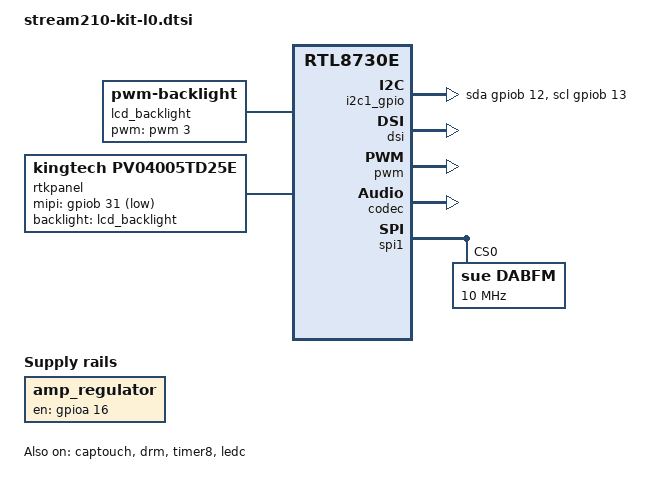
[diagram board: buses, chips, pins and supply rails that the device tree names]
#include "../rtl8730e-drm.dtsi"
#include "../rtl8730e-captouch.dtsi"

/ {
	sue {
		carrierboard = "streamkit210";
		daughterboard = "dabfm";
	};

	aliases {
		i2c1 = &i2c1_gpio;
	};

	reserved-memory {
		// Reserve 6 MiB for graphics, this is enough do drive a
		// 480x800 32-bpp display with double-buffering using DRM.
		// There is probably some more optimizations to be done,
		// but for now let's keep it like that.
		mem_drm_reserved: drm_buffer@0x64000000 {
			compatible = "shared-dma-pool";
			no-map;
			reg = <0x64000000 0x600000>;
		};
	};

	i2c1_gpio: i2c1_gpio {
		compatible = "i2c-gpio";

		#address-cells = <1>;
		#size-cells = <0>;

		pinctrl-names = "default";
		pinctrl-0 = <&i2c1_gpio_pins>;

		sda-gpios = <&gpiob 12 (GPIO_ACTIVE_HIGH | GPIO_OPEN_DRAIN)>;
		scl-gpios = <&gpiob 13 (GPIO_ACTIVE_HIGH | GPIO_OPEN_DRAIN)>;
		i2c-gpio,delay-us = <2>;

		status = "okay";
	};

	lcd_backlight: lcd_backlight {
		compatible = "pwm-backlight";
		pwms = <&pwm 3 5000000 0>;

		/*
		 * Values taken from `imx7d-sue-streamkitprime-common-0.dtsi`.
		 */
		brightness-levels = <0 3 5 8 10 13 15 18 20 23 26 28 31 33 36 38 41 43 46 48 51 54 56 59 61 64 66 69 71 74
			77 79 82 84 87 89 92 94 97 99 102 105 107 110 112 115 117 120 122 125 127 130 133 135 138 140 143 145 148 150
			153 156 158 161 163 166 168 171 173 176 179 181 184 186 189 191 194 196 199 201 204 207 209 212 214 217 219 222 224 227
			229 232 235 237 240 242 245 247 250 252 255>;
		default-brightness-level = <100>;

		status = "okay";
	};

	sue-hsmp {
		compatible = "sue,hsmp-rtk-mcu-ipc";
		status = "okay";

		state-controller {
			compatible = "sue,hsmp-state-controller";
			status = "okay";
		};

		gpio_hsmp: gpio {
			gpio-controller;
			#gpio-cells = <2>;
			compatible = "sue,hsmp-gpio";
			status = "okay";
		};
	};

	amp_regulator: amp-regulator {
		compatible = "regulator-fixed";
		regulator-name = "amp-regulator";
		gpio = <&gpioa 16 GPIO_ACTIVE_HIGH>;
		enable-active-high;
	};
};

&captouch {
	pinctrl-names = "default", "sleep";
	pinctrl-0 = <&captouch_pins>;
	pinctrl-1 = <&captouch_pins>;

	// Disable the ETC (environmental tracking and calibration) as it performs
	// poorly if the device is not grounded and connected to an AC outlet.
	disable-etc;

	// The values are resonably good defaults for StreamKit210, final
	// products will have a calibration done.
	rtk,ctc-diffthr = <500>, <500>, <500>, <500>, <500>, <500>, <500>, <500>, <500>;
	rtk,ctc-mbias = <13>, <12>, <13>, <13>, <14>, <13>, <10>, <12>, <11>;
	rtk,ctc-nnoise = <200>, <200>, <200>, <200>, <200>, <200>, <200>, <200>, <200>;
	rtk,ctc-pnoise = <200>, <200>, <200>, <200>, <200>, <200>, <200>, <200>, <200>;
	rtk,ctc-ch-status = <1>, <1>, <1>, <1>, <1>, <1>, <1>, <1>, <1>;
	rtk,ctc-keycodes = <KEY_DOWN>,
			   <KEY_SLEEP>,
			   <KEY_PREVIOUSSONG>,
			   <KEY_VOLUMEDOWN>,
			   <KEY_PLAYPAUSE>,
			   <KEY_UP>,
			   <KEY_VOLUMEUP>,
			   <KEY_NEXTSONG>,
			   <KEY_MUTE>;
	status = "okay";
};

&drm {
	status = "okay";
};

&dsi {
	status = "okay";
};

&timer8 {
	status = "okay";
};

&pwm {
	pinctrl-names = "default";
	pinctrl-0 = <&lcd_backlight_pin>;
	status = "okay";
};

&rtkpanel {
	compatible = "kingtech,pv04005td25e";
	pinctrl-names = "default";
	pinctrl-0 = <&lcd_rst_n_pin>;
	mipi-gpios = <&gpiob 31 GPIO_ACTIVE_LOW>;
	backlight = <&lcd_backlight>;
	status = "okay";
};

&codec {
	status = "okay";
	pinctrl-names = "default";
	pinctrl-0 = <&dmic_pins_stream210>;

	enable-dac-asrc;
};

&sound {
	amp-supply = <&amp_regulator>;
	amp_mute-gpio = <&gpio_hsmp 0 GPIO_ACTIVE_LOW>;
	hp_mute-gpio = <&gpio_hsmp 1 GPIO_ACTIVE_LOW>;
};

&ledc {
	pinctrl-names = "default";
	pinctrl-0 = <&ledc_pin>;
	rtk,led-nums = <5>;
	rtk,output-RGB-mode = <0>;

	// Timings for SKC6812 RGB LEDs
	rtk,data-tx-time0h = <12>;	// ~300 ns
	rtk,data-tx-time0l = <36>;	// ~900 ns
	rtk,data-tx-time1h = <30>;	// ~750 ns
	rtk,data-tx-time1l = <12>;	// ~300 ns
	rtk,refresh-time = <8000>;	// ~200 us
	status = "okay";
};

&pinctrl {
	i2c1_gpio_pins: i2c1_gpios {
		pins {
			pinmux = <REALTEK_PINMUX('B', 12, GPIO)>, // I2C1_SDA
					<REALTEK_PINMUX('B', 13, GPIO)>;  // I2C1_SCL
			bias-pull-up;
		};
	};

	lcd_backlight_pin: lcd_backlight_pin@0 {
		pins {
			pinmux = <REALTEK_PINMUX('B', 30, PWM)>; // HS_PWM3
			bias-pull-up;
			slew-rate = <0>;
			drive-strength = <0>;
		};
	};

	lcd_rst_n_pin: lcd_rst_n_pin {
		pins {
			pinmux = <REALTEK_PINMUX('B', 31, GPIO)>;
			bias-pull-down;
		};
	};

	ledc_pin: ledc_pin {
		pins {
			pinmux = <REALTEK_PINMUX('B', 27, LEDC)>;
			bias-pull-up;
		};
	};

	spi1_dabfm_pins: spi1_dabfm_pins {
		pins {
			pinmux = <REALTEK_PINMUX('A', 12, GPIO)>,	// SPI1_CS
				 <REALTEK_PINMUX('A', 11, SPI)>,	// SPI1_CLK
				 <REALTEK_PINMUX('A', 10, SPI)>,	// SPI1_MISO
				 <REALTEK_PINMUX('A', 9, SPI)>;		// SPI1_MOSI
		};
	};
};

&spi1 {
	pinctrl-names = "default";
	pinctrl-0 = <&spi1_dabfm_pins>;
	status = "okay";

	// This is needed otherwise the Realtek driver will register an `spidev`
	// node for us implicitly thus creating a chip-select conflict.
	rtk,spi-for-kernel = <1>;

	rtk,spi-slave-mode = <0>;
	rtk,spi-cs-gpios = <&gpioa 12 0>;

	#address-cells = <1>;
	#size-cells = <0>;

	dabfm: dabfm@0 {
		status = "okay";
		reg = <0>;
		compatible = "sue,dabfm";
		spi-max-frequency = <10000000>;
	};
};

&sport2 {
	rtk,sport-multi-io = <1>;
	rtk,sport-mode = <1>;
	rtk,sport-mclk-multiplier = <256>;
};

&sport3 {
	rtk,sport-multi-io = <1>;
	rtk,sport-mode = <0>;
	rtk,sport-mclk-multiplier = <0>;
};
